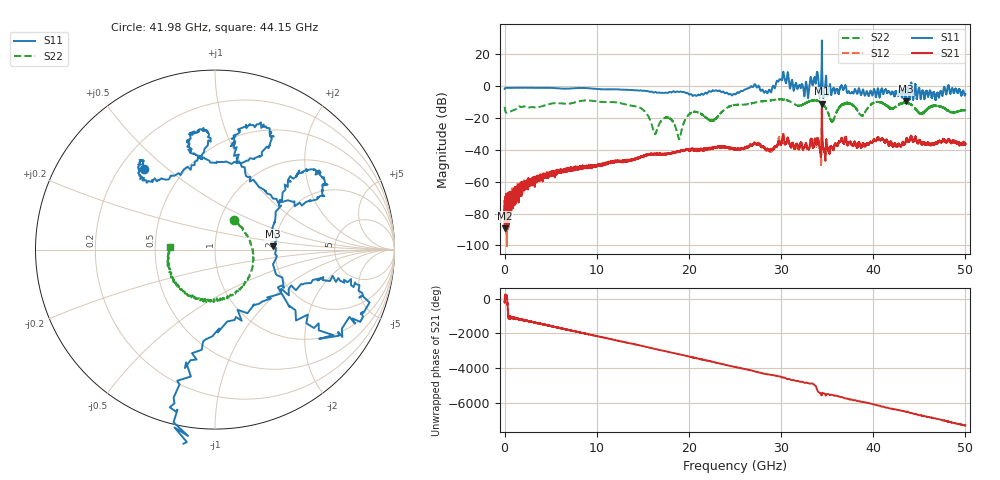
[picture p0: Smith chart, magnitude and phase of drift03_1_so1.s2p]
!Created with skrf (http://scikit-rf.org).
# Hz S RI R 50.0
!freq ReS11 ImS11 ReS21 ImS21 ReS12 ImS12 ReS22 ImS22
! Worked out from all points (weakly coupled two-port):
!   10000 points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, 5.3 MHz to 50 GHz, reference 50 ohm
!   highest |S21| = -11.26 dB at 34.43 GHz (marker M1); lowest = -89.3 dB at 25.3 MHz (marker M2)
!   lowest |S11| = -9.8 dB at 43.53 GHz (marker M3), VSWR 1.95, Z = 97.4 + j3.83 ohm
!   |S11| at or under -10 dB: nowhere
!   |S22| runs from -33.5 to -8.5 dB; largest |S21 - S12| = 0.08
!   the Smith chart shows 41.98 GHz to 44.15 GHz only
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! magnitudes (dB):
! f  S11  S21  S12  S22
! 5.3 MHz  -2.1  -79.9  -73.5  -13.3
! 25.3 MHz  -1.9  -89.3  -75.7  -13.9
! 2.125 GHz  -1.3  -62.1  -62.5  -13.0
! 8.34 GHz  -1.5  -52.2  -51.3  -9.5
! 14.49 GHz  -3.0  -45.4  -45.5  -13.4
! 16.67 GHz  -4.4  -42.9  -42.7  -25.6
! 17.81 GHz  -4.2  -42.4  -42.7  -20.1
! 18.95 GHz  -4.0  -41.2  -41.2  -33.4
! 20.26 GHz  -5.4  -40.4  -39.9  -17.0
! 22.57 GHz  -3.2  -39.6  -39.2  -22.0
! 25.01 GHz  -5.5  -39.7  -39.8  -12.1
! 28.72 GHz  -2.5  -40.4  -40.6  -9.4
! 30.13 GHz  3.9  -34.3  -34.4  -8.6
! 32.74 GHz  2.1  -37.3  -36.5  -10.6
! 33.34 GHz  2.3  -34.9  -35.0  -9.4
! 34.43 GHz  28.2  -11.3  -13.0  -11.0
! 35.54 GHz  -3.4  -38.8  -38.8  -22.7
! 36.98 GHz  0.3  -33.1  -33.0  -11.4
! 38.75 GHz  -5.2  -38.3  -38.2  -18.9
! 41.67 GHz  -3.6  -37.3  -37.0  -13.8
! 43.53 GHz  -9.8  -34.8  -35.0  -10.7
! 50 GHz  -5.5  -36.6  -36.1  -15.5
